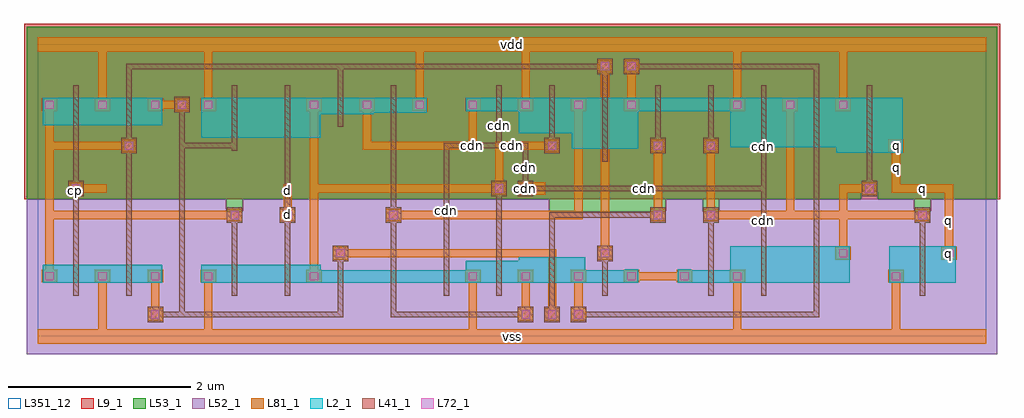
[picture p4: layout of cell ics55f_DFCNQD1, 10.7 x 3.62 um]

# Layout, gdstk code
import gdstk
lib = gdstk.Library(unit=1e-6, precision=1e-09)
def R(c, l, rs):  # rectangles x0, y0, x1, y1
    for r in rs: c.add(gdstk.rectangle(r[:2], r[2:], *l))
def A(c, l, x, y, w, h, nx, ny, dx, dy):  # array of equal rectangles
    R(c, l, [(x+i*dx, y+j*dy, x+i*dx+w, y+j*dy+h) for i in range(nx) for j in range(ny)])
def P(c, l, *ps):  # polygons
    for p in ps: c.add(gdstk.Polygon(p, *l))
L0_0 = (0, 0)
L2_1 = (2, 1)
L9_1 = (9, 1)
L41_1 = (41, 1)
L52_1 = (52, 1)
L53_1 = (53, 1)
L72_1 = (72, 1)
L81_1 = (81, 1)
L351_12 = (351, 12)

ics55f_dfcnqd1 = lib.new_cell('ics55f_DFCNQD1')
A(ics55f_dfcnqd1, L2_1, 0.055, 0.585, 0.15, 0.15, 4, 2, 0.58, 1.88)
A(ics55f_dfcnqd1, L2_1, 2.955, 0.585, 0.73, 0.14, 3, 1, 0.58, 0)
A(ics55f_dfcnqd1, L2_1, 4.695, 0.585, 0.15, 0.15, 6, 1, 0.58, 0)
A(ics55f_dfcnqd1, L2_1, 2.955, 2.465, 0.15, 0.15, 7, 1, 0.58, 0)
A(ics55f_dfcnqd1, L2_1, 7.595, 2.465, 0.15, 0.15, 3, 1, 0.58, 0)
R(ics55f_dfcnqd1, L2_1, [(0.055,0.585,0.785,0.785), (0.635,0.585,1.365,0.785), (1.795,0.585,2.525,0.785), (2.375,0.585,3.105,0.785), (2.955,0.585,3.105,0.735), (4.695,0.585,5.425,0.83), (5.275,0.585,6.005,0.865), (5.855,0.585,6.585,0.725), (7.015,0.585,7.745,0.725), (7.595,0.585,8.325,0.985), (8.175,0.585,8.905,0.985), (9.335,0.585,10.065,0.985), (9.335,0.585,9.485,0.735), (8.755,0.835,8.905,0.985), (9.915,0.835,10.065,0.985), (8.755,2.015,9.485,2.615), (9.335,2.015,9.485,2.165), (5.855,2.055,6.585,2.615), (7.595,2.075,8.325,2.615), (8.175,2.075,8.905,2.615), (1.795,2.175,2.525,2.615), (2.375,2.175,3.105,2.615), (5.275,2.225,6.005,2.615), (0.055,2.315,0.785,2.615), (0.635,2.315,1.365,2.615), (2.955,2.435,3.685,2.615), (3.535,2.45,4.265,2.615), (4.695,2.465,5.425,2.615), (6.435,2.465,7.165,2.615), (7.015,2.465,7.745,2.615)])
R(ics55f_dfcnqd1, L9_1, [(-0.15,1.5,10.55,3.425)])
A(ics55f_dfcnqd1, L41_1, 5.265, 0.155, 0.17, 0.17, 3, 1, 0.29, 0)
A(ics55f_dfcnqd1, L41_1, 3.29, 0.445, 0.06, 0.42, 3, 1, 0.58, 0)
R(ics55f_dfcnqd1, L41_1, [(1.205,0.155,1.375,0.325), (1.26,0.21,3.35,0.27), (1.55,0.21,1.61,2.57), (3.29,0.21,3.35,0.69), (3.87,0.21,3.93,0.69), (3.87,0.21,5.38,0.27), (5.61,0.21,5.67,0.69), (5.9,0.21,8.57,0.27), (8.51,0.21,8.57,0.69), (0.39,0.445,0.45,0.925), (0.97,0.445,1.03,0.925), (2.13,0.445,2.19,0.925), (2.71,0.445,2.77,0.925), (5.03,0.445,5.09,0.97), (5.61,0.445,5.67,1.005), (6.19,0.445,6.25,0.865), (7.35,0.445,7.41,0.865), (7.93,0.445,7.99,1.125), (8.51,0.445,8.57,1.125), (9.67,0.445,9.73,1.125), (0.39,0.63,0.45,2.57), (0.97,0.63,1.03,2.12), (2.13,0.63,2.19,1.36), (2.71,0.63,2.77,2.57), (3.29,0.63,3.35,0.94), (3.87,0.63,3.93,2.57), (4.45,0.63,4.51,2.12), (5.03,0.63,5.09,1.65), (5.61,0.63,5.67,1.36), (6.19,0.63,6.25,0.94), (7.35,0.63,7.41,1.36), (3.235,0.825,3.405,0.995), (6.135,0.825,6.305,0.995), (7.93,0.88,7.99,1.65), (8.51,0.88,8.57,2.57), (9.67,0.88,9.73,1.36), (2.075,1.245,2.245,1.415), (2.655,1.245,2.825,1.415), (3.815,1.245,3.985,1.415), (6.715,1.245,6.885,1.415), (7.295,1.245,7.465,1.415), (7.295,1.245,7.465,1.415), (9.615,1.245,9.785,1.415), (5.61,1.3,6.83,1.36), (0.335,1.535,0.505,1.705), (4.975,1.535,5.145,1.705), (5.265,1.535,5.435,1.705), (9.035,1.535,9.205,1.705), (5.32,1.59,5.38,2.12), (5.32,1.59,7.99,1.65), (7.93,1.59,7.99,2.57), (9.09,1.59,9.15,2.12), (9.09,1.875,9.15,2.755), (6.19,1.915,6.25,2.755), (7.93,1.935,7.99,2.755), (8.51,1.935,8.57,2.755), (0.915,2.005,1.085,2.175), (5.555,2.005,5.725,2.175), (6.715,2.005,6.885,2.175), (7.295,2.005,7.465,2.175), (2.13,2.035,2.19,2.755), (2.71,2.035,2.77,2.755), (0.97,2.06,1.03,2.57), (1.55,2.06,2.19,2.12), (2.13,2.06,2.19,2.57), (4.45,2.06,5.09,2.12), (5.03,2.06,5.09,2.57), (5.03,2.06,5.38,2.12), (5.61,2.06,5.67,2.57), (6.77,2.06,6.83,2.57), (7.35,2.06,7.41,2.57), (5.61,2.085,5.67,2.755), (0.39,2.175,0.45,2.755), (0.97,2.175,1.03,2.755), (3.29,2.295,3.35,2.755), (3.87,2.31,3.93,2.755), (5.03,2.325,5.09,2.755), (6.77,2.325,6.83,2.755), (7.35,2.325,7.41,2.755), (1.495,2.455,1.665,2.625), (0.97,2.51,1.03,2.99), (3.29,2.51,3.35,2.99), (6.19,2.51,6.25,2.99), (8.51,2.51,8.57,2.99), (6.135,2.875,6.305,3.045), (6.425,2.875,6.595,3.045), (0.97,2.93,3.35,2.99), (3.29,2.93,6.25,2.99), (6.48,2.93,8.57,2.99)])
P(ics55f_dfcnqd1, L52_1, [(-0.12,-0.195),(-0.12,1.5),(2.07,1.5),(2.07,1.365),(2.25,1.365),(2.25,1.5),(5.607,1.5),(5.607,1.365),(6.887,1.365),(6.887,1.5),(7.29,1.5),(7.29,1.365),(7.47,1.365),(7.47,1.5),(9.03,1.5),(9.03,1.585),(9.21,1.585),(9.21,1.5),(9.61,1.5),(9.61,1.365),(9.79,1.365),(9.79,1.5),(10.52,1.5),(10.52,-0.195)])
P(ics55f_dfcnqd1, L53_1, [(2.07,1.365),(2.07,1.5),(-0.12,1.5),(-0.12,3.395),(10.52,3.395),(10.52,1.5),(9.79,1.5),(9.79,1.365),(9.61,1.365),(9.61,1.5),(9.21,1.5),(9.21,1.585),(9.03,1.585),(9.03,1.5),(7.47,1.5),(7.47,1.365),(7.29,1.365),(7.29,1.5),(6.887,1.5),(6.887,1.365),(5.607,1.365),(5.607,1.5),(2.25,1.5),(2.25,1.365)])
A(ics55f_dfcnqd1, L72_1, 5.305, 0.195, 0.09, 0.09, 3, 1, 0.29, 0)
A(ics55f_dfcnqd1, L72_1, 0.085, 0.615, 0.09, 0.09, 4, 1, 0.58, 0)
A(ics55f_dfcnqd1, L72_1, 4.725, 0.615, 0.09, 0.09, 6, 1, 0.58, 0)
A(ics55f_dfcnqd1, L72_1, 0.085, 2.495, 0.09, 0.09, 3, 1, 0.58, 0)
A(ics55f_dfcnqd1, L72_1, 2.985, 2.495, 0.09, 0.09, 7, 1, 0.58, 0)
A(ics55f_dfcnqd1, L72_1, 7.625, 2.495, 0.09, 0.09, 3, 1, 0.58, 0)
R(ics55f_dfcnqd1, L72_1, [(1.245,0.195,1.335,0.285), (2.985,0.615,3.075,0.705), (9.365,0.615,9.455,0.705), (3.275,0.865,3.365,0.955), (6.175,0.865,6.265,0.955), (8.785,0.865,8.875,0.955), (9.945,0.865,10.035,0.955), (2.115,1.285,2.205,1.375), (2.695,1.285,2.785,1.375), (3.855,1.285,3.945,1.375), (6.755,1.285,6.845,1.375), (7.335,1.285,7.425,1.375), (7.335,1.285,7.425,1.375), (9.655,1.285,9.745,1.375), (0.375,1.575,0.465,1.665), (5.015,1.575,5.105,1.665), (5.305,1.575,5.395,1.665), (9.075,1.575,9.165,1.665), (0.955,2.045,1.045,2.135), (5.595,2.045,5.685,2.135), (6.755,2.045,6.845,2.135), (7.335,2.045,7.425,2.135), (9.365,2.045,9.455,2.135), (1.535,2.495,1.625,2.585), (1.825,2.495,1.915,2.585), (6.175,2.915,6.265,3.005), (6.465,2.915,6.555,3.005)])
R(ics55f_dfcnqd1, L81_1, [(5.265,1.55,5.565,1.69)])
P(ics55f_dfcnqd1, L81_1, [(1.205,0.17),(1.205,0.31),(1.245,0.31),(1.245,0.59),(1.205,0.59),(1.205,0.73),(1.375,0.73),(1.375,0.59),(1.335,0.59),(1.335,0.31),(1.375,0.31),(1.375,0.17)],
  [(5.265,0.17),(5.265,0.31),(5.305,0.31),(5.305,0.59),(5.265,0.59),(5.265,0.73),(5.435,0.73),(5.435,0.59),(5.395,0.59),(5.395,0.31),(5.435,0.31),(5.435,0.17)],
  [(5.845,0.17),(5.845,0.31),(5.885,0.31),(5.885,0.59),(5.845,0.59),(5.845,0.73),(6.015,0.73),(6.015,0.59),(5.975,0.59),(5.975,0.31),(6.015,0.31),(6.015,0.17)],
  [(6.425,0.59),(6.425,0.73),(6.595,0.73),(6.595,0.705),(7.005,0.705),(7.005,0.73),(7.175,0.73),(7.175,0.59),(7.005,0.59),(7.005,0.615),(6.595,0.615),(6.595,0.59)],
  [(0,-0.08),(0,0.08),(0.665,0.08),(0.665,0.59),(0.625,0.59),(0.625,0.73),(0.795,0.73),(0.795,0.59),(0.755,0.59),(0.755,0.08),(1.825,0.08),(1.825,0.59),(1.785,0.59),(1.785,0.73),(1.955,0.73),(1.955,0.59),(1.915,0.59),(1.915,0.08),(4.725,0.08),(4.725,0.59),(4.685,0.59),(4.685,0.73),(4.855,0.73),(4.855,0.59),(4.815,0.59),(4.815,0.08),(7.625,0.08),(7.625,0.59),(7.585,0.59),(7.585,0.73),(7.755,0.73),(7.755,0.59),(7.715,0.59),(7.715,0.08),(9.365,0.08),(9.365,0.59),(9.325,0.59),(9.325,0.73),(9.495,0.73),(9.495,0.59),(9.455,0.59),(9.455,0.08),(10.4,0.08),(10.4,-0.08)],
  [(5.555,0.17),(5.555,0.31),(5.595,0.31),(5.595,0.865),(3.405,0.865),(3.405,0.84),(3.235,0.84),(3.235,0.98),(3.405,0.98),(3.405,0.955),(5.685,0.955),(5.685,0.31),(5.725,0.31),(5.725,0.17)],
  [(2.655,1.26),(2.655,1.4),(2.695,1.4),(2.695,1.665),(2.785,1.665),(2.785,1.4),(2.825,1.4),(2.825,1.26)],
  [(0.335,1.55),(0.335,1.69),(0.505,1.69),(0.505,1.665),(0.755,1.665),(0.755,1.575),(0.505,1.575),(0.505,1.55)],
  [(6.715,1.26),(6.715,1.4),(6.755,1.4),(6.755,2.02),(6.715,2.02),(6.715,2.16),(6.885,2.16),(6.885,2.02),(6.845,2.02),(6.845,1.4),(6.885,1.4),(6.885,1.26)],
  [(9.905,0.84),(9.905,0.98),(9.945,0.98),(9.945,1.575),(9.365,1.575),(9.365,2.02),(9.325,2.02),(9.325,2.16),(9.495,2.16),(9.495,2.02),(9.455,2.02),(9.455,1.665),(10.035,1.665),(10.035,0.98),(10.075,0.98),(10.075,0.84)],
  [(0.045,0.59),(0.045,0.73),(0.085,0.73),(0.085,2.47),(0.045,2.47),(0.045,2.61),(0.215,2.61),(0.215,2.47),(0.175,2.47),(0.175,2.135),(0.915,2.135),(0.915,2.16),(1.085,2.16),(1.085,2.02),(0.915,2.02),(0.915,2.045),(0.175,2.045),(0.175,1.375),(2.075,1.375),(2.075,1.4),(2.245,1.4),(2.245,1.26),(2.075,1.26),(2.075,1.285),(0.175,1.285),(0.175,0.73),(0.215,0.73),(0.215,0.59)],
  [(1.205,2.47),(1.205,2.61),(1.375,2.61),(1.375,2.585),(1.495,2.585),(1.495,2.61),(1.665,2.61),(1.665,2.47),(1.495,2.47),(1.495,2.495),(1.375,2.495),(1.375,2.47)],
  [(2.945,0.59),(2.945,0.73),(2.985,0.73),(2.985,2.47),(2.945,2.47),(2.945,2.61),(3.115,2.61),(3.115,2.47),(3.075,2.47),(3.075,1.665),(4.975,1.665),(4.975,1.69),(5.015,1.69),(5.015,2.135),(5.555,2.135),(5.555,2.16),(5.725,2.16),(5.725,2.02),(5.555,2.02),(5.555,2.045),(5.105,2.045),(5.105,1.69),(5.145,1.69),(5.145,1.55),(4.975,1.55),(4.975,1.575),(3.075,1.575),(3.075,0.73),(3.115,0.73),(3.115,0.59)],
  [(3.565,2.045),(3.565,2.47),(3.525,2.47),(3.525,2.61),(3.695,2.61),(3.695,2.47),(3.655,2.47),(3.655,2.135),(4.725,2.135),(4.725,2.47),(4.685,2.47),(4.685,2.61),(4.855,2.61),(4.855,2.47),(4.815,2.47),(4.815,2.045)],
  [(3.815,1.26),(3.815,1.4),(3.985,1.4),(3.985,1.375),(5.885,1.375),(5.885,2.47),(5.845,2.47),(5.845,2.61),(6.015,2.61),(6.015,2.47),(5.975,2.47),(5.975,1.285),(3.985,1.285),(3.985,1.26)],
  [(8.745,0.84),(8.745,0.98),(8.785,0.98),(8.785,1.285),(7.465,1.285),(7.465,1.26),(7.295,1.26),(7.295,1.4),(7.335,1.4),(7.335,2.02),(7.295,2.02),(7.295,2.16),(7.465,2.16),(7.465,2.02),(7.425,2.02),(7.425,1.4),(7.465,1.4),(7.465,1.375),(8.205,1.375),(8.205,2.47),(8.165,2.47),(8.165,2.61),(8.335,2.61),(8.335,2.47),(8.295,2.47),(8.295,1.375),(8.785,1.375),(8.785,1.665),(9.035,1.665),(9.035,1.69),(9.205,1.69),(9.205,1.55),(9.035,1.55),(9.035,1.575),(8.875,1.575),(8.875,1.375),(9.615,1.375),(9.615,1.4),(9.785,1.4),(9.785,1.26),(9.615,1.26),(9.615,1.285),(8.875,1.285),(8.875,0.98),(8.915,0.98),(8.915,0.84)],
  [(6.135,0.84),(6.135,0.98),(6.175,0.98),(6.175,2.89),(6.135,2.89),(6.135,3.03),(6.305,3.03),(6.305,2.89),(6.265,2.89),(6.265,0.98),(6.305,0.98),(6.305,0.84)],
  [(6.425,2.47),(6.425,2.61),(6.465,2.61),(6.465,2.89),(6.425,2.89),(6.425,3.03),(6.595,3.03),(6.595,2.89),(6.555,2.89),(6.555,2.61),(6.595,2.61),(6.595,2.47)],
  [(0.625,2.47),(0.625,2.61),(0.665,2.61),(0.665,3.12),(0,3.12),(0,3.28),(10.4,3.28),(10.4,3.12),(8.875,3.12),(8.875,2.61),(8.915,2.61),(8.915,2.47),(8.745,2.47),(8.745,2.61),(8.785,2.61),(8.785,3.12),(7.715,3.12),(7.715,2.61),(7.755,2.61),(7.755,2.47),(7.585,2.47),(7.585,2.61),(7.625,2.61),(7.625,3.12),(5.395,3.12),(5.395,2.61),(5.435,2.61),(5.435,2.47),(5.265,2.47),(5.265,2.61),(5.305,2.61),(5.305,3.12),(4.235,3.12),(4.235,2.61),(4.275,2.61),(4.275,2.47),(4.105,2.47),(4.105,2.61),(4.145,2.61),(4.145,3.12),(1.915,3.12),(1.915,2.61),(1.955,2.61),(1.955,2.47),(1.785,2.47),(1.785,2.61),(1.825,2.61),(1.825,3.12),(0.755,3.12),(0.755,2.61),(0.795,2.61),(0.795,2.47)])
R(ics55f_dfcnqd1, L351_12, [(0,0,10.4,3.2)])
ics55f_dfcnqd1.add(gdstk.FlexPath([(0.045,0.24),(10.075,0.24)], 0, ends="flush", simple_path=True, layer=0, datatype=0))  # L0_0
ics55f_dfcnqd1.add(gdstk.FlexPath([(0.045,0.66),(10.075,0.66)], 0, ends="flush", simple_path=True, layer=0, datatype=0))  # L0_0
ics55f_dfcnqd1.add(gdstk.FlexPath([(0.045,0.91),(10.075,0.91)], 0, ends="flush", simple_path=True, layer=0, datatype=0))  # L0_0
ics55f_dfcnqd1.add(gdstk.FlexPath([(0.045,1.33),(10.075,1.33)], 0, ends="flush", simple_path=True, layer=0, datatype=0))  # L0_0
ics55f_dfcnqd1.add(gdstk.FlexPath([(0.045,1.62),(10.075,1.62)], 0, ends="flush", simple_path=True, layer=0, datatype=0))  # L0_0
ics55f_dfcnqd1.add(gdstk.FlexPath([(0.045,2.09),(10.075,2.09)], 0, ends="flush", simple_path=True, layer=0, datatype=0))  # L0_0
ics55f_dfcnqd1.add(gdstk.FlexPath([(0.045,2.54),(10.075,2.54)], 0, ends="flush", simple_path=True, layer=0, datatype=0))  # L0_0
ics55f_dfcnqd1.add(gdstk.FlexPath([(0.045,2.96),(10.075,2.96)], 0, ends="flush", simple_path=True, layer=0, datatype=0))  # L0_0
ics55f_dfcnqd1.add(gdstk.FlexPath([(0.13,0.03),(0.13,3.17)], 0, ends="flush", simple_path=True, layer=0, datatype=0))  # L0_0
ics55f_dfcnqd1.add(gdstk.FlexPath([(0.42,0.03),(0.42,3.17)], 0, ends="flush", simple_path=True, layer=0, datatype=0))  # L0_0
ics55f_dfcnqd1.add(gdstk.FlexPath([(0.71,0.03),(0.71,3.17)], 0, ends="flush", simple_path=True, layer=0, datatype=0))  # L0_0
ics55f_dfcnqd1.add(gdstk.FlexPath([(1,0.03),(1,3.17)], 0, ends="flush", simple_path=True, layer=0, datatype=0))  # L0_0
ics55f_dfcnqd1.add(gdstk.FlexPath([(1.29,0.03),(1.29,3.17)], 0, ends="flush", simple_path=True, layer=0, datatype=0))  # L0_0
ics55f_dfcnqd1.add(gdstk.FlexPath([(1.58,0.03),(1.58,3.17)], 0, ends="flush", simple_path=True, layer=0, datatype=0))  # L0_0
ics55f_dfcnqd1.add(gdstk.FlexPath([(1.87,0.03),(1.87,3.17)], 0, ends="flush", simple_path=True, layer=0, datatype=0))  # L0_0
ics55f_dfcnqd1.add(gdstk.FlexPath([(2.16,0.03),(2.16,3.17)], 0, ends="flush", simple_path=True, layer=0, datatype=0))  # L0_0
ics55f_dfcnqd1.add(gdstk.FlexPath([(2.45,0.03),(2.45,3.17)], 0, ends="flush", simple_path=True, layer=0, datatype=0))  # L0_0
ics55f_dfcnqd1.add(gdstk.FlexPath([(2.74,0.03),(2.74,3.17)], 0, ends="flush", simple_path=True, layer=0, datatype=0))  # L0_0
ics55f_dfcnqd1.add(gdstk.FlexPath([(3.03,0.03),(3.03,3.17)], 0, ends="flush", simple_path=True, layer=0, datatype=0))  # L0_0
ics55f_dfcnqd1.add(gdstk.FlexPath([(3.32,0.03),(3.32,3.17)], 0, ends="flush", simple_path=True, layer=0, datatype=0))  # L0_0
ics55f_dfcnqd1.add(gdstk.FlexPath([(3.61,0.03),(3.61,3.17)], 0, ends="flush", simple_path=True, layer=0, datatype=0))  # L0_0
ics55f_dfcnqd1.add(gdstk.FlexPath([(3.9,0.03),(3.9,3.17)], 0, ends="flush", simple_path=True, layer=0, datatype=0))  # L0_0
ics55f_dfcnqd1.add(gdstk.FlexPath([(4.19,0.03),(4.19,3.17)], 0, ends="flush", simple_path=True, layer=0, datatype=0))  # L0_0
ics55f_dfcnqd1.add(gdstk.FlexPath([(4.48,0.03),(4.48,3.17)], 0, ends="flush", simple_path=True, layer=0, datatype=0))  # L0_0
ics55f_dfcnqd1.add(gdstk.FlexPath([(4.77,0.03),(4.77,3.17)], 0, ends="flush", simple_path=True, layer=0, datatype=0))  # L0_0
ics55f_dfcnqd1.add(gdstk.FlexPath([(5.06,0.03),(5.06,3.17)], 0, ends="flush", simple_path=True, layer=0, datatype=0))  # L0_0
ics55f_dfcnqd1.add(gdstk.FlexPath([(5.35,0.03),(5.35,3.17)], 0, ends="flush", simple_path=True, layer=0, datatype=0))  # L0_0
ics55f_dfcnqd1.add(gdstk.FlexPath([(5.64,0.03),(5.64,3.17)], 0, ends="flush", simple_path=True, layer=0, datatype=0))  # L0_0
ics55f_dfcnqd1.add(gdstk.FlexPath([(5.93,0.03),(5.93,3.17)], 0, ends="flush", simple_path=True, layer=0, datatype=0))  # L0_0
ics55f_dfcnqd1.add(gdstk.FlexPath([(6.22,0.03),(6.22,3.17)], 0, ends="flush", simple_path=True, layer=0, datatype=0))  # L0_0
ics55f_dfcnqd1.add(gdstk.FlexPath([(6.51,0.03),(6.51,3.17)], 0, ends="flush", simple_path=True, layer=0, datatype=0))  # L0_0
ics55f_dfcnqd1.add(gdstk.FlexPath([(6.8,0.03),(6.8,3.17)], 0, ends="flush", simple_path=True, layer=0, datatype=0))  # L0_0
ics55f_dfcnqd1.add(gdstk.FlexPath([(7.09,0.03),(7.09,3.17)], 0, ends="flush", simple_path=True, layer=0, datatype=0))  # L0_0
ics55f_dfcnqd1.add(gdstk.FlexPath([(7.38,0.03),(7.38,3.17)], 0, ends="flush", simple_path=True, layer=0, datatype=0))  # L0_0
ics55f_dfcnqd1.add(gdstk.FlexPath([(7.67,0.03),(7.67,3.17)], 0, ends="flush", simple_path=True, layer=0, datatype=0))  # L0_0
ics55f_dfcnqd1.add(gdstk.FlexPath([(7.96,0.03),(7.96,3.17)], 0, ends="flush", simple_path=True, layer=0, datatype=0))  # L0_0
ics55f_dfcnqd1.add(gdstk.FlexPath([(8.25,0.03),(8.25,3.17)], 0, ends="flush", simple_path=True, layer=0, datatype=0))  # L0_0
ics55f_dfcnqd1.add(gdstk.FlexPath([(8.54,0.03),(8.54,3.17)], 0, ends="flush", simple_path=True, layer=0, datatype=0))  # L0_0
ics55f_dfcnqd1.add(gdstk.FlexPath([(8.83,0.03),(8.83,3.17)], 0, ends="flush", simple_path=True, layer=0, datatype=0))  # L0_0
ics55f_dfcnqd1.add(gdstk.FlexPath([(9.12,0.03),(9.12,3.17)], 0, ends="flush", simple_path=True, layer=0, datatype=0))  # L0_0
ics55f_dfcnqd1.add(gdstk.FlexPath([(9.41,0.03),(9.41,3.17)], 0, ends="flush", simple_path=True, layer=0, datatype=0))  # L0_0
ics55f_dfcnqd1.add(gdstk.FlexPath([(9.7,0.03),(9.7,3.17)], 0, ends="flush", simple_path=True, layer=0, datatype=0))  # L0_0
ics55f_dfcnqd1.add(gdstk.FlexPath([(9.99,0.03),(9.99,3.17)], 0, ends="flush", simple_path=True, layer=0, datatype=0))  # L0_0
ics55f_dfcnqd1.add(gdstk.Label('q', (9.99,0.91), layer=2, texttype=1))
ics55f_dfcnqd1.add(gdstk.Label('q', (9.41,2.09), layer=2, texttype=1))
ics55f_dfcnqd1.add(gdstk.Label('cp', (0.42,1.6), layer=41, texttype=1))
ics55f_dfcnqd1.add(gdstk.Label('cp', (0.42,1.62), layer=41, texttype=1))
ics55f_dfcnqd1.add(gdstk.Label('d', (2.74,1.6), layer=41, texttype=1))
ics55f_dfcnqd1.add(gdstk.Label('d', (2.74,1.33), layer=41, texttype=1))
ics55f_dfcnqd1.add(gdstk.Label('cdn', (4.48,1.375), layer=41, texttype=1))
ics55f_dfcnqd1.add(gdstk.Label('cdn', (4.77,2.09), layer=41, texttype=1))
ics55f_dfcnqd1.add(gdstk.Label('cdn', (5.06,2.315), layer=41, texttype=1))
ics55f_dfcnqd1.add(gdstk.Label('cdn', (5.205,2.09), layer=41, texttype=1))
ics55f_dfcnqd1.add(gdstk.Label('cdn', (5.35,1.855), layer=41, texttype=1))
ics55f_dfcnqd1.add(gdstk.Label('cdn', (6.655,1.62), layer=41, texttype=1))
ics55f_dfcnqd1.add(gdstk.Label('cdn', (7.96,2.08), layer=41, texttype=1))
ics55f_dfcnqd1.add(gdstk.Label('cdn', (7.96,1.265), layer=41, texttype=1))
ics55f_dfcnqd1.add(gdstk.Label('cdn', (5.35,1.62), layer=41, texttype=1))
ics55f_dfcnqd1.add(gdstk.Label('cp', (0.42,1.62), layer=72, texttype=1))
ics55f_dfcnqd1.add(gdstk.Label('d', (2.74,1.33), layer=72, texttype=1))
ics55f_dfcnqd1.add(gdstk.Label('cdn', (5.35,1.62), layer=72, texttype=1))
ics55f_dfcnqd1.add(gdstk.Label('q', (9.99,0.91), layer=72, texttype=1))
ics55f_dfcnqd1.add(gdstk.Label('q', (9.41,2.09), layer=72, texttype=1))
ics55f_dfcnqd1.add(gdstk.Label('cp', (0.42,1.62), layer=81, texttype=6))
ics55f_dfcnqd1.add(gdstk.Label('cp', (0.565,1.62), layer=81, texttype=6))
ics55f_dfcnqd1.add(gdstk.Label('d', (2.74,1.33), layer=81, texttype=6))
ics55f_dfcnqd1.add(gdstk.Label('d', (2.74,1.475), layer=81, texttype=6))
ics55f_dfcnqd1.add(gdstk.Label('cdn', (5.35,1.62), layer=81, texttype=6))
ics55f_dfcnqd1.add(gdstk.Label('q', (9.99,0.91), layer=81, texttype=6))
ics55f_dfcnqd1.add(gdstk.Label('q', (9.41,2.09), layer=81, texttype=6))
ics55f_dfcnqd1.add(gdstk.Label('q', (9.99,1.265), layer=81, texttype=6))
ics55f_dfcnqd1.add(gdstk.Label('q', (9.7,1.62), layer=81, texttype=6))
ics55f_dfcnqd1.add(gdstk.Label('q', (9.41,1.855), layer=81, texttype=6))
ics55f_dfcnqd1.add(gdstk.Label('vss', (5.2,0), layer=81, texttype=6))
ics55f_dfcnqd1.add(gdstk.Label('vdd', (5.2,3.2), layer=81, texttype=6))

lib.write_gds('ics55f_DFCNQD1.gds')
